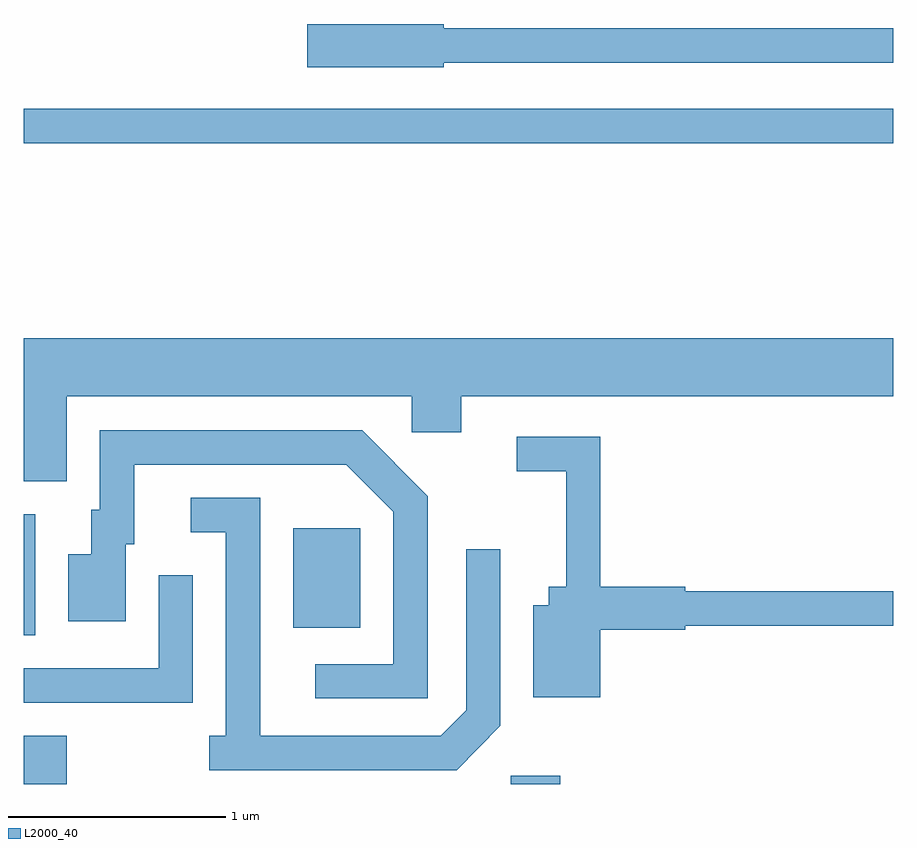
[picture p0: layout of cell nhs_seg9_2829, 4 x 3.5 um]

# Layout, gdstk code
import gdstk
lib = gdstk.Library(unit=1e-6, precision=1e-09)
def R(c, l, rs):  # rectangles x0, y0, x1, y1
    for r in rs: c.add(gdstk.rectangle(r[:2], r[2:], *l))
def P(c, l, *ps):  # polygons
    for p in ps: c.add(gdstk.Polygon(p, *l))
L2000_40 = (2000, 40)

nhs_seg9_2829 = lib.new_cell('nhs_seg9_2829')
R(nhs_seg9_2829, L2000_40, [(267.611,2034.432,267.809,2034.654), (269.851,2034.432,270.079,2034.469), (267.611,2035.116,267.664,2035.674), (268.851,2035.151,269.159,2035.609), (267.611,2037.381,271.611,2037.539)])
P(nhs_seg9_2829, L2000_40, [(269.544,2037.751),(271.611,2037.751),(271.611,2037.909),(269.544,2037.909),(269.544,2037.929),(268.916,2037.929),(268.916,2037.731),(269.544,2037.731)],
  [(267.809,2036.216),(269.396,2036.216),(269.396,2036.051),(269.624,2036.051),(269.624,2036.216),(271.611,2036.216),(271.611,2036.484),(267.611,2036.484),(267.611,2035.826),(267.809,2035.826)],
  [(269.469,2035.757),(269.167,2036.059),(267.961,2036.059),(267.961,2035.694),(267.921,2035.694),(267.921,2035.489),(267.816,2035.489),(267.816,2035.181),(268.079,2035.181),(268.079,2035.536),(268.119,2035.536),(268.119,2035.901),(269.094,2035.901),(269.311,2035.684),(269.311,2034.984),(268.953,2034.984),(268.953,2034.826),(269.469,2034.826)],
  [(270.264,2035.141),(270.654,2035.141),(270.654,2035.161),(271.611,2035.161),(271.611,2035.319),(270.654,2035.319),(270.654,2035.339),(270.264,2035.339),(270.264,2036.029),(269.878,2036.029),(269.878,2035.871),(270.106,2035.871),(270.106,2035.339),(270.026,2035.339),(270.026,2035.254),(269.956,2035.254),(269.956,2034.831),(270.264,2034.831)],
  [(269.804,2034.699),(269.804,2035.513),(269.646,2035.513),(269.646,2034.772),(269.529,2034.654),(268.699,2034.654),(268.699,2035.749),(268.378,2035.749),(268.378,2035.591),(268.541,2035.591),(268.541,2034.654),(268.463,2034.654),(268.463,2034.496),(269.602,2034.496)],
  [(268.389,2035.393),(268.231,2035.393),(268.231,2034.964),(267.611,2034.964),(267.611,2034.806),(268.389,2034.806)])

lib.write_gds('nhs_seg9_2829.gds')
